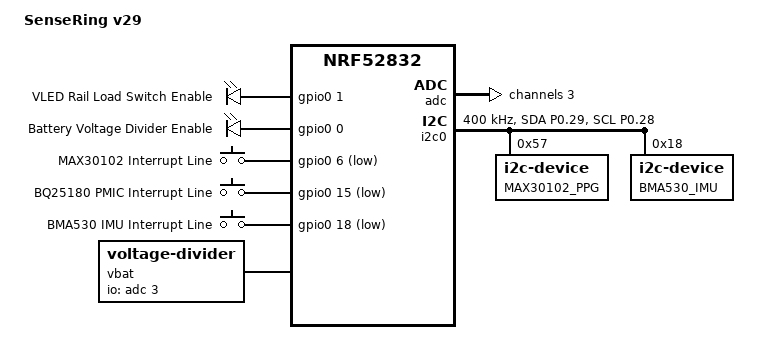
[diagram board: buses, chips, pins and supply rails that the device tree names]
/dts-v1/;
#include <nordic/nrf52832_qfaa.dtsi>
#include <zephyr/dt-bindings/adc/adc.h>

/ {
    model = "SenseRing v29";
    compatible = "sensering,sensering-v29";

    chosen {
        zephyr,sram = &sram0;
        zephyr,flash = &flash0;
        /* Keep the settings/NVS backend off the vitals-log partition. Without
         * this it defaults to storage_partition, which flash_store.c erases at
         * boot and laps over in normal running -- taking the BLE bond keys
         * with it.
         */
        zephyr,settings-partition = &settings_partition;
    };

    /* Updated hardware-aware mapping for your load switches */
    power_switches {
        compatible = "gpio-leds";
        led_en_switch: switch_1 {
            gpios = <&gpio0 1 GPIO_ACTIVE_HIGH>; /* Moved from P0.10 -> P0.01 */
            label = "VLED Rail Load Switch Enable";
        };
        vbat_en_switch: switch_2 {
            gpios = <&gpio0 0 GPIO_ACTIVE_HIGH>; /* Moved from P0.09 -> P0.00 */
            label = "Battery Voltage Divider Enable";
        };
    };

    /* Explicitly mapping the hardware interrupt inputs to give names to pins */
    interrupt_signals {
        compatible = "gpio-keys";
        ppg_int_pin: int_ppg {
            gpios = <&gpio0 6 (GPIO_ACTIVE_LOW | GPIO_PULL_UP)>;
            label = "MAX30102 Interrupt Line";
        };
        pmic_int_pin: int_pmic {
            gpios = <&gpio0 15 (GPIO_ACTIVE_LOW | GPIO_PULL_UP)>;
            label = "BQ25180 PMIC Interrupt Line";
        };
        imu_int_pin: int_imu {
            gpios = <&gpio0 18 (GPIO_ACTIVE_LOW | GPIO_PULL_UP)>;
            label = "BMA530 IMU Interrupt Line";
        };
    };

    /* The cell reaches this divider only while vbat_en_switch holds U4 on, so
     * the legs below burn 1.7uA during a reading and nothing at all between
     * them. The tap sits on AIN3.
     */
    vbat: vbat {
        compatible = "voltage-divider";
        io-channels = <&adc 3>;
        output-ohms = <1000000>;  /* R6 */
        full-ohms = <2500000>;    /* R5 (1M5) + R6 (1M) */
    };
};

&flash0 {
    partitions {
        compatible = "fixed-partitions";
        #address-cells = <1>;
        #size-cells = <1>;

        boot_partition: partition@0 {
            label = "mcuboot";
            reg = <0x00000000 0xc000>;
        };
        slot0_partition: partition@c000 {
            label = "image-0";
            reg = <0x0000c000 0x32000>;
        };
        /* What used to be image-1 (200KB) and image-scratch (32KB) is now the
         * vitals log. MCUboot is not built and nothing links against these
         * slots (ARCHITECTURE.md App. C), so before this they were 232KB of
         * flash the device carried and never touched.
         *
         * **The trade, made deliberately: this gives up OTA updates** unless the
         * space is reclaimed later. What it buys is buffer depth -- the ring
         * goes from ~8.6 hours uncollected to a bit over four days, which is
         * the difference between a wearer who leaves their phone charging
         * overnight losing the early hours of a night and losing nothing.
         * That failure is specific and plausible; a firmware update path that
         * has never been built is not.
         *
         * Reclaiming it later means shrinking this back to 0x6000 at 0x7a000
         * and restoring the two slots. Records are RAM-addressed by sequence
         * number and erased at boot, so nothing on flash has to migrate.
         */
        storage_partition: partition@3e000 {
            label = "storage";
            reg = <0x0003e000 0x3a000>;
        };
        /* NVS-backed settings store for BLE bond keys (see CONFIG_BT_SETTINGS).
         * Two pages is the NVS minimum: the backend needs at least two 4KB
         * erase sectors for its garbage collection.
         *
         * **Deliberately left where it was.** The obvious tidier layout moves
         * this to the end and lets storage run contiguously to 0x80000, but the
         * NVS content is addressed by partition offset: moving it discards every
         * stored bond *and* the BLE identity address, so every paired phone
         * would need re-pairing and every standing auto-connect request would be
         * waiting for a peer that no longer exists (§5B.5). Twenty-four
         * kilobytes of buffer is not worth that.
         */
        settings_partition: partition@78000 {
            label = "settings";
            reg = <0x00078000 0x2000>;
        };
        /* 0x7a000-0x80000 is the old 24KB storage partition, now unallocated.
         * It is stranded on the far side of `settings` and cannot be merged
         * into the log, which has to be one contiguous flash area. Left out of
         * the table rather than relabelled, so it reads as spare rather than as
         * something with a purpose.
         */
    };
};

&gpio0 {
    status = "okay";
};

&gpiote {
    status = "okay";
};

&adc {
    status = "okay";
    #address-cells = <1>;
    #size-cells = <0>;

    /* The divider scales a full 4.2V cell down to 1.68V, so 1/3 gain against
     * the internal 0.6V reference gives a 1.8V full scale that covers the cell
     * with a little room left over. R5 and R6 in parallel present 600k to the
     * SAADC, which is why the sampling capacitor needs the longest acquisition
     * window the peripheral offers.
     */
    channel@3 {
        reg = <3>;
        zephyr,gain = "ADC_GAIN_1_3";
        zephyr,reference = "ADC_REF_INTERNAL";
        zephyr,acquisition-time = <ADC_ACQ_TIME(ADC_ACQ_TIME_MICROSECONDS, 40)>;
        zephyr,input-positive = <NRF_SAADC_AIN3>;
        zephyr,resolution = <12>;
        /* The PPG pulses ~10mA of LED drive off the same cell, so average 16
         * conversions to keep that ripple out of the reading.
         */
        zephyr,oversampling = <4>;
    };
};

/* Shared I2C (TWI) Bus Mapping using your updated hardware boundaries */
&i2c0 {
    status = "okay";
    pinctrl-0 = <&i2c0_default>;
    pinctrl-1 = <&i2c0_sleep>;
    pinctrl-names = "default", "sleep";
    clock-frequency = <I2C_BITRATE_FAST>; /* 400 kHz bus clock speed */

    max30102: max30102@57 {
        compatible = "i2c-device";
        reg = <0x57>;
        label = "MAX30102_PPG";
    };

    /* The v49 schematic (designator AC2) fits a BMA530, not the BMA456 this
     * node used to claim. Different part, different generation, incompatible
     * register map. 0x18 is the BMA530's fixed default address -- the 6-ball
     * WLCSP exposes no SDO pin, so unlike the BMA456 there is nothing to strap.
     */
    bma530: bma530@18 {
        compatible = "i2c-device";
        reg = <0x18>;
        label = "BMA530_IMU";
    };
};

/* Pin control management updated from (P0.26/P0.27) -> (P0.29/P0.28) */
&pinctrl {
    i2c0_default: i2c0_default {
        group1 {
            psels = <NRF_PSEL(TWIM_SDA, 0, 29)>,
                    <NRF_PSEL(TWIM_SCL, 0, 28)>;
            bias-pull-up;
        };
    };

    i2c0_sleep: i2c0_sleep {
        group1 {
            psels = <NRF_PSEL(TWIM_SDA, 0, 29)>,
                    <NRF_PSEL(TWIM_SCL, 0, 28)>;
            low-power-enable;
        };
    };
};

&clock {
    status = "okay";
};
